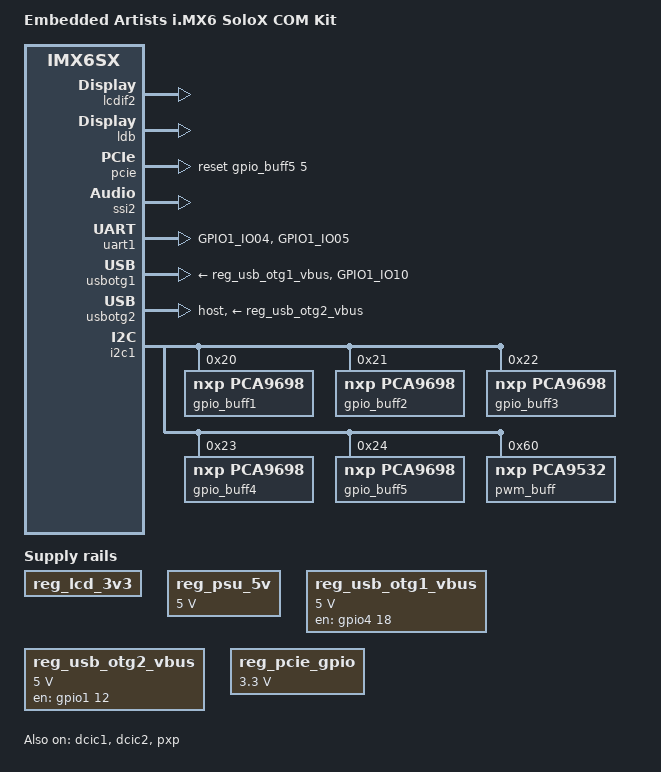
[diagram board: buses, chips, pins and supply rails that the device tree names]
/*
 * Copyright (C) 2014-2015 Freescale Semiconductor, Inc.
 *
 * This program is free software; you can redistribute it and/or modify
 * it under the terms of the GNU General Public License version 2 as
 * published by the Free Software Foundation.
 */

/dts-v1/;

#include <dt-bindings/leds/leds-pca9532.h>
#include "imx6sxea-com.dtsi"

/ {
	model = "Embedded Artists i.MX6 SoloX COM Kit";
	compatible = "fsl,imx6sxea-com", "fsl,imx6sx";

	/* Aliases to allow u-boot to modify the device tree */
	aliases {
	};

	chosen {
		stdout-path = &uart1;
	};

	pxp_v4l2_out {
		compatible = "fsl,imx6sx-pxp-v4l2", "fsl,imx6sl-pxp-v4l2";
		status = "okay";
	};

	regulators {
		compatible = "simple-bus";
		#address-cells = <1>;
		#size-cells = <0>;

		reg_lcd_3v3: lcd-3v3 {
			compatible = "regulator-fixed";
			regulator-name = "lcd-3v3";
			/*gpio = <&gpio2 1 GPIO_ACTIVE_LOW>;
			enable-active-high;*/
			status = "okay";
		};

		/* For uSD/MMC socket on EA COM Base Board */
		/*vcc_sd2: regulator-vcc-sd2 {
			compatible = "regulator-fixed";
			pinctrl-names = "default";
			pinctrl-0 = <&pinctrl_vcc_sd2>;
			regulator-name = "VCC_SD2";
			regulator-min-microvolt = <3000000>;
			regulator-max-microvolt = <3000000>;
			gpio = <&gpio6 22 GPIO_ACTIVE_HIGH>;
			enable-active-high;
		};*/

		reg_psu_5v: regulator-psu-5v {
			compatible = "regulator-fixed";
			regulator-name = "PSU-5V0";
			regulator-min-microvolt = <5000000>;
			regulator-max-microvolt = <5000000>;
			regulator-boot-on;
		};


		reg_usb_otg1_vbus: regulator-usb-otg1-vbus {
			compatible = "regulator-fixed";
			pinctrl-names = "default";
			pinctrl-0 = <&pinctrl_usb_otg1>;
			regulator-name = "usb_otg1_vbus";
			regulator-min-microvolt = <5000000>;
			regulator-max-microvolt = <5000000>;
			gpio = <&gpio4 18 GPIO_ACTIVE_HIGH>;
			enable-active-high;
		};

		reg_usb_otg2_vbus: regulator-usb-org2-vbus {
			compatible = "regulator-fixed";
			pinctrl-names = "default";
			pinctrl-0 = <&pinctrl_usb_otg2>;
			regulator-name = "usb_otg2_vbus";
			regulator-min-microvolt = <5000000>;
			regulator-max-microvolt = <5000000>;
			gpio = <&gpio1 12 GPIO_ACTIVE_HIGH>;
			enable-active-high;
		};

		reg_pcie_gpio: regulator-pcie-gpio {
			compatible = "regulator-fixed";
			regulator-name = "MPCIE_3V3";
			regulator-min-microvolt = <3300000>;
			regulator-max-microvolt = <3300000>;
			regulator-always-on;
		};
	};
};

&lcdif2 {
        lcd-supply = <&reg_lcd_3v3>;

	display = <&display1>;
	disp-dev = "ldb";
	status = "okay";

	assigned-clocks = <&clks IMX6SX_CLK_LCDIF2_SEL>;
	assigned-clock-parents = <&clks IMX6SX_CLK_LDB_DI0>;
	assigned-clock-rates = <0>;

	display1: display@1 {
		bits-per-pixel = <32>;
		bus-width = <24>;
	};
};

&ldb {
	status = "okay";

	lvds-channel@0 {
		fsl,data-mapping = "spwg";
		fsl,data-width = <24>;
		crtc = "lcdif2";
		status = "okay";

		display-timings {
			native-mode = <&t_lvds>;
			t_lvds: t_lvds_default {
				/* values may be changed in bootscript, default is for Hannstar 10" display */
				clock-frequency = <85000000>;
				hactive = <1280>;
				vactive = <1024>;
				hback-porch = <10>;
				hfront-porch = <10>;
				vback-porch = <10>;
				vfront-porch = <10>;
				hsync-len = <44>;
				vsync-len = <10>;
			};
		};
	};
};

&pwm1 {
        status = "disabled";
};

&pwm2 {
        status = "disabled";
};

&dcic1 {
	dcic_id = <0>;
	dcic_mux = "dcic-lcdif1";
	status = "okay";
};

&dcic2 {
	dcic_id = <1>;
	dcic_mux = "dcic-lvds";
	status = "okay";
};

&pcie {
	pinctrl-names = "default";
	reset-gpio = <&gpio_buff5 5 GPIO_ACTIVE_HIGH>; /* TST_GPIO_165 */
	status = "okay";
};

&pxp {
	status = "okay";
};

&ssi2 {
	fsl,mode = "i2s-master";
	status = "okay";
};

&uart1 {
	pinctrl-names = "default";
	pinctrl-0 = <&pinctrl_uart1>;
	status = "okay";
};

&usbotg1 {
	vbus-supply = <&reg_usb_otg1_vbus>;
	pinctrl-names = "default";
	pinctrl-0 = <&pinctrl_usb_otg1_id>;
	status = "okay";
};

&usbotg2 {
	vbus-supply = <&reg_usb_otg2_vbus>;
	dr_mode = "host";
	status = "okay";
};

&vadc {
        status = "disabled";
};

&csi2 {
	status = "disabled";
	port {
		csi2_ep: endpoint {
			remote-endpoint = <&vadc_ep>;
		};
	};
};

&i2c1 {
        gpio_buff1: pca9698@20 {
                compatible = "nxp,pca9698";
                reg = <0x20>;
                gpio-controller;
                #gpio-cells = <2>;
        };
        gpio_buff2: pca9698@21 {
                compatible = "nxp,pca9698";
                reg = <0x21>;
                gpio-controller;
                #gpio-cells = <2>;
        };
        gpio_buff3: pca9698@22 {
                compatible = "nxp,pca9698";
                reg = <0x22>;
                gpio-controller;
                #gpio-cells = <2>;
        };
        gpio_buff4: pca9698@23 {
                compatible = "nxp,pca9698";
                reg = <0x23>;
                gpio-controller;
                #gpio-cells = <2>;
        };
        gpio_buff5: pca9698@24 {
                compatible = "nxp,pca9698";
                reg = <0x24>;
                gpio-controller;
                #gpio-cells = <2>;
        };
	pwm_buff: pca9532@60 {
		compatible = "nxp,pca9532";
		reg = <0x60>;

		tst-pwm-000 {
			label = "TST_PWM_000";
			type = <PCA9532_TYPE_LED>;
		};
		tst-pwm-001 {
			label = "TST_PWM_001";
			type = <PCA9532_TYPE_LED>;
		};
		tst-pwm-002 {
			label = "TST_PWM_002";
			type = <PCA9532_TYPE_LED>;
		};
		tst-pwm-003 {
			label = "TST_PWM_003";
			type = <PCA9532_TYPE_LED>;
		};
		tst-pwm-004 {
			label = "TST_PWM_004";
			type = <PCA9532_TYPE_LED>;
		};
		tst-pwm-005 {
			label = "TST_PWM_005";
			type = <PCA9532_TYPE_LED>;
		};
		tst-pwm-006 {
			label = "TST_PWM_006";
			type = <PCA9532_TYPE_LED>;
		};
		tst-pwm-007 {
			label = "TST_PWM_007";
			type = <PCA9532_TYPE_LED>;
		};
		tst-pwm-008 {
			label = "TST_PWM_008";
			type = <PCA9532_TYPE_LED>;
		};
		tst-pwm-009 {
			label = "TST_PWM_009";
			type = <PCA9532_TYPE_LED>;
		};
		tst-pwm-010 {
			label = "TST_PWM_010";
			type = <PCA9532_TYPE_LED>;
		};
		tst-pwm-011 {
			label = "TST_PWM_011";
			type = <PCA9532_TYPE_LED>;
		};
		tst-pwm-012 {
			label = "TST_PWM_012";
			type = <PCA9532_TYPE_LED>;
		};
		red-led {
			label = "TST_PWM_013-RED_LED";
			type = <PCA9532_TYPE_LED>;
		};
		blue-led {
			label = "TST_PWM_014-BLUE_LED";
			type = <PCA9532_TYPE_LED>;
		};
		green-led {
			label = "TST_PWM_015-GREEN_LED";
			type = <PCA9532_TYPE_LED>;
		};
	};
};

&i2c2 {
	status = "disabled";
};
&i2c3 {
	status = "disabled";
};

&iomuxc {
	pinctrl-0 = <&pinctrl_test_1>;

	imx6xea-com-kit {

		pinctrl_test_1: tstgrp-1 {
			fsl,pins = <
				/* From: pinctrl_audmux: audmuxgrp */
				MX6SX_PAD_CSI_DATA00__GPIO1_IO_14			0x1f099
				MX6SX_PAD_CSI_DATA01__GPIO1_IO_15			0x1f099
				MX6SX_PAD_CSI_HSYNC__GPIO1_IO_22			0x1f099
				MX6SX_PAD_CSI_VSYNC__GPIO1_IO_25			0x1f099
				MX6SX_PAD_CSI_PIXCLK__GPIO1_IO_24			0x1f099

				/* From: pinctrl_canfd1: canfd1grp-1 */
				MX6SX_PAD_QSPI1B_DQS__GPIO4_IO_28			0x1f099
				MX6SX_PAD_QSPI1A_SS1_B__GPIO4_IO_23			0x1f099

				/* From: pinctrl_canfd2: canfd2grp-1 */
				MX6SX_PAD_QSPI1B_SS1_B__GPIO4_IO_31			0x1f099
				MX6SX_PAD_QSPI1A_DQS__GPIO4_IO_20			0x1f099

				/* From: pinctrl_rgb_connector: rgb_connector_grp */
				MX6SX_PAD_CSI_DATA03__GPIO1_IO_17			0x1f099
				MX6SX_PAD_QSPI1A_DATA3__GPIO4_IO_19			0x1f099

				/* From: pinctrl_flexcan1: flexcan1grp */
				MX6SX_PAD_QSPI1B_DQS__GPIO4_IO_28			0x1f099
				MX6SX_PAD_QSPI1A_SS1_B__GPIO4_IO_23			0x1f099

				/* From: pinctrl_flexcan2: flexcan2grp */
				MX6SX_PAD_QSPI1B_SS1_B__GPIO4_IO_31			0x1f099
				MX6SX_PAD_QSPI1A_DQS__GPIO4_IO_20			0x1f099

				/* From: pinctrl_can_gpios: can-gpios */
				MX6SX_PAD_KEY_ROW2__GPIO2_IO_17			0x1f099

				/* From: pinctrl_lcdif_dat: lcdifdatgrp */
				MX6SX_PAD_LCD1_DATA00__GPIO3_IO_1			0x1f099
				MX6SX_PAD_LCD1_DATA01__GPIO3_IO_2			0x1f099
				MX6SX_PAD_LCD1_DATA02__GPIO3_IO_3			0x1f099
				MX6SX_PAD_LCD1_DATA03__GPIO3_IO_4			0x1f099
				MX6SX_PAD_LCD1_DATA04__GPIO3_IO_5			0x1f099
				MX6SX_PAD_LCD1_DATA05__GPIO3_IO_6			0x1f099
				MX6SX_PAD_LCD1_DATA06__GPIO3_IO_7			0x1f099
				MX6SX_PAD_LCD1_DATA07__GPIO3_IO_8			0x1f099
				MX6SX_PAD_LCD1_DATA08__GPIO3_IO_9			0x1f099
				MX6SX_PAD_LCD1_DATA09__GPIO3_IO_10			0x1f099
				MX6SX_PAD_LCD1_DATA10__GPIO3_IO_11			0x1f099
				MX6SX_PAD_LCD1_DATA11__GPIO3_IO_12			0x1f099
				MX6SX_PAD_LCD1_DATA12__GPIO3_IO_13			0x1f099
				MX6SX_PAD_LCD1_DATA13__GPIO3_IO_14			0x1f099
				MX6SX_PAD_LCD1_DATA14__GPIO3_IO_15			0x1f099
				MX6SX_PAD_LCD1_DATA15__GPIO3_IO_16			0x1f099
				MX6SX_PAD_LCD1_DATA16__GPIO3_IO_17			0x1f099
				MX6SX_PAD_LCD1_DATA17__GPIO3_IO_18			0x1f099
				MX6SX_PAD_LCD1_DATA18__GPIO3_IO_19			0x1f099
				MX6SX_PAD_LCD1_DATA19__GPIO3_IO_20			0x1f099
				MX6SX_PAD_LCD1_DATA20__GPIO3_IO_21			0x1f099
				MX6SX_PAD_LCD1_DATA21__GPIO3_IO_22			0x1f099
				MX6SX_PAD_LCD1_DATA22__GPIO3_IO_23			0x1f099
				MX6SX_PAD_LCD1_DATA23__GPIO3_IO_24			0x1f099

				/* From: pinctrl_sai1: sai1grp */
				MX6SX_PAD_CSI_DATA00__GPIO1_IO_14			0x1f099
				MX6SX_PAD_CSI_DATA01__GPIO1_IO_15			0x1f099
				MX6SX_PAD_CSI_HSYNC__GPIO1_IO_22			0x1f099
				MX6SX_PAD_CSI_VSYNC__GPIO1_IO_25			0x1f099
				MX6SX_PAD_CSI_PIXCLK__GPIO1_IO_24			0x1f099

				/* From: pinctrl_spdif: spdifgrp */
				MX6SX_PAD_ENET1_RX_CLK__GPIO2_IO_4		0x1f099

				/* From: pinctrl_uart2: uart2grp */
				MX6SX_PAD_SD1_DATA1__GPIO6_IO_3			0x1f099
				MX6SX_PAD_SD1_DATA0__GPIO6_IO_2			0x1f099
				MX6SX_PAD_SD1_DATA3__GPIO6_IO_5			0x1f099
				MX6SX_PAD_SD1_DATA2__GPIO6_IO_4			0x1f099
				MX6SX_PAD_GPIO1_IO06__GPIO1_IO_6		0x1f099
				MX6SX_PAD_GPIO1_IO07__GPIO1_IO_7		0x1f099
				MX6SX_PAD_CSI_DATA02__GPIO1_IO_16		0x1f099

				/* From: pinctrl_uart5: uart5grp */
				MX6SX_PAD_KEY_COL3__GPIO2_IO_13			0x1f099
				MX6SX_PAD_KEY_ROW3__GPIO2_IO_18			0x1f099

				/* pinctrl_usdhc2: usdhc2grp */
				MX6SX_PAD_SD2_CMD__GPIO6_IO_7			0x1f099
				MX6SX_PAD_SD2_CLK__GPIO6_IO_6			0x1f099
				MX6SX_PAD_SD2_DATA0__GPIO6_IO_8			0x1f099
				MX6SX_PAD_SD2_DATA1__GPIO6_IO_9			0x1f099
				MX6SX_PAD_SD2_DATA2__GPIO6_IO_10		0x1f099
				MX6SX_PAD_SD2_DATA3__GPIO6_IO_11		0x1f099
				MX6SX_PAD_KEY_ROW1__GPIO2_IO_16			0x1f099

				/* From: pinctrl_lcdif_ctrl: lcdifctrlgrp */
				MX6SX_PAD_LCD1_CLK__GPIO3_IO_0			0x1f099
				MX6SX_PAD_LCD1_ENABLE__GPIO3_IO_25		0x1f099
				MX6SX_PAD_LCD1_VSYNC__GPIO3_IO_28		0x1f099
				MX6SX_PAD_LCD1_HSYNC__GPIO3_IO_26		0x1f099
				MX6SX_PAD_LCD1_RESET__GPIO3_IO_27		0x1f099
				MX6SX_PAD_GPIO1_IO09__GPIO1_IO_9		0x1f099
				MX6SX_PAD_ENET1_CRS__GPIO2_IO_1			0x1f099

				/* From: pinctrl_pcie: pciegrp */
				MX6SX_PAD_SD1_CMD__GPIO6_IO_1			0x1f099

				/* From: pinctrl_vcc_sd2: vccsd2grp */
				MX6SX_PAD_SD4_RESET_B__GPIO6_IO_22		0x1f099

				/* From: pinctrl_lvds0_connector: lvds0_connector_grp */
				MX6SX_PAD_KEY_ROW0__GPIO2_IO_15			0x1f099

				/* From: pinctrl_pwm1: pwm1grp */
				MX6SX_PAD_USB_H_STROBE__GPIO7_IO_11		0x1f099

				/* From: pinctrl_pwm2: pwm2grp */
				MX6SX_PAD_USB_H_DATA__GPIO7_IO_10		0x1f099

				/* From: imx6sxea-com.dtsi: pinctrl_i2c2: i2c2grp */
				MX6SX_PAD_GPIO1_IO03__GPIO1_IO_3		0x1f099
				MX6SX_PAD_GPIO1_IO02__GPIO1_IO_2		0x1f099

				/* From: imx6sxea-com.dtsi: pinctrl_i2c3: i2c3grp */
				MX6SX_PAD_KEY_ROW4__GPIO2_IO_19			0x1f099
				MX6SX_PAD_KEY_COL4__GPIO2_IO_14			0x1f099

				/* Previously Undeclared */
				MX6SX_PAD_SD4_CLK__GPIO6_IO_12			0x1f099
				MX6SX_PAD_SD4_CMD__GPIO6_IO_13			0x1f099
				MX6SX_PAD_SD4_DATA0__GPIO6_IO_14		0x1f099
				MX6SX_PAD_SD4_DATA1__GPIO6_IO_15		0x1f099
				MX6SX_PAD_SD4_DATA2__GPIO6_IO_16		0x1f099
				MX6SX_PAD_SD4_DATA3__GPIO6_IO_17		0x1f099
				MX6SX_PAD_SD4_DATA4__GPIO6_IO_18		0x1f099
				MX6SX_PAD_SD4_DATA5__GPIO6_IO_19		0x1f099
				MX6SX_PAD_SD4_DATA6__GPIO6_IO_20		0x1f099
				MX6SX_PAD_SD4_DATA7__GPIO6_IO_21		0x1f099
			>;
		};

		pinctrl_uart1: uart1grp {
			fsl,pins = <
				MX6SX_PAD_GPIO1_IO04__UART1_TX		0x1f0b1
				MX6SX_PAD_GPIO1_IO05__UART1_RX		0x1f0b1
			>;
		};

		pinctrl_usb_otg1: usbotg1grp {
			fsl,pins = <
				MX6SX_PAD_QSPI1A_DATA2__USB_OTG1_PWR	0x10b0
				MX6SX_PAD_QSPI1A_DATA2__GPIO4_IO_18     0x10b0
			>;
		};

		pinctrl_usb_otg1_id: usbotg1idgrp {
			fsl,pins = <
				MX6SX_PAD_GPIO1_IO10__ANATOP_OTG1_ID	0x17059
			>;
		};

		pinctrl_usb_otg2: usbot2ggrp {
			fsl,pins = <
				MX6SX_PAD_GPIO1_IO12__GPIO1_IO_12	0x10b0
			>;
		};
	};
};
